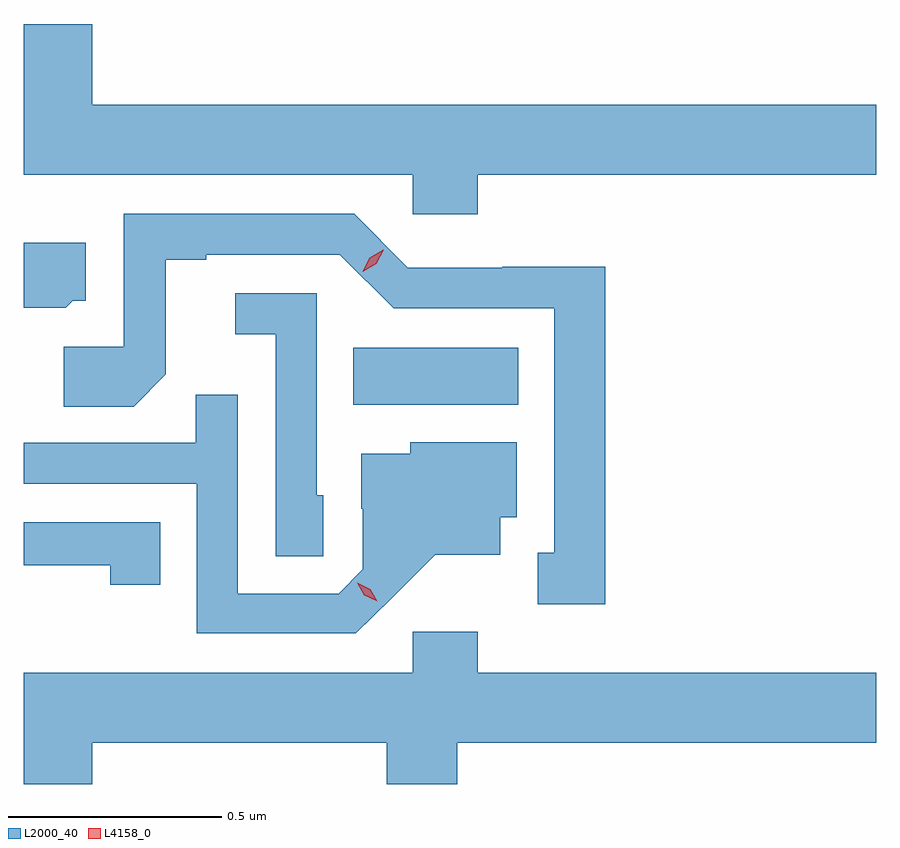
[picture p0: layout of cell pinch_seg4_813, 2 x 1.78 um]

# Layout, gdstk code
import gdstk
lib = gdstk.Library(unit=1e-6, precision=1e-09)
def R(c, l, rs):  # rectangles x0, y0, x1, y1
    for r in rs: c.add(gdstk.rectangle(r[:2], r[2:], *l))
def P(c, l, *ps):  # polygons
    for p in ps: c.add(gdstk.Polygon(p, *l))
L2000_40 = (2000, 40)
L4158_0 = (4158, 0)

pinch_seg4_813 = lib.new_cell('pinch_seg4_813')
R(pinch_seg4_813, L2000_40, [(801.148,829.58,801.535,829.714)])
P(pinch_seg4_813, L2000_40, [(801.44,830.12),(802.375,830.12),(802.375,830.284),(800.536,830.284),(800.536,830.473),(800.375,830.473),(800.375,830.12),(801.288,830.12),(801.288,830.027),(801.44,830.027)],
  [(801.739,829.904),(801.498,829.904),(801.498,829.902),(801.276,829.902),(801.15,830.028),(800.61,830.028),(800.61,829.716),(800.469,829.716),(800.469,829.576),(800.633,829.576),(800.709,829.652),(800.709,829.92),(800.803,829.92),(800.803,829.932),(801.117,829.932),(801.243,829.806),(801.62,829.806),(801.62,829.233),(801.581,829.233),(801.581,829.113),(801.739,829.113)],
  [(800.49,829.824),(800.521,829.824),(800.521,829.96),(800.375,829.96),(800.375,829.808),(800.474,829.808)],
  [(801.078,829.368),(801.063,829.368),(801.063,829.842),(800.871,829.842),(800.871,829.745),(800.967,829.745),(800.967,829.225),(801.078,829.225)],
  [(801.238,829.127),(801.341,829.229),(801.493,829.229),(801.493,829.316),(801.532,829.316),(801.532,829.492),(801.282,829.492),(801.282,829.465),(801.167,829.465),(801.167,829.336),(801.171,829.336),(801.171,829.194),(801.114,829.137),(800.877,829.137),(800.877,829.604),(800.779,829.604),(800.779,829.491),(800.375,829.491),(800.375,829.395),(800.781,829.395),(800.781,829.044),(801.154,829.044)],
  [(800.696,829.305),(800.375,829.305),(800.375,829.204),(800.578,829.204),(800.578,829.158),(800.696,829.158)],
  [(800.536,828.788),(801.227,828.788),(801.227,828.691),(801.392,828.691),(801.392,828.788),(802.375,828.788),(802.375,828.952),(801.44,828.952),(801.44,829.048),(801.288,829.048),(801.288,828.952),(800.375,828.952),(800.375,828.691),(800.536,828.691)])
P(pinch_seg4_813, L4158_0, [(801.205,829.119),(801.174,829.133),(801.157,829.163),(801.157,829.163),(801.157,829.163),(801.188,829.148),(801.205,829.119),(801.205,829.119)],
  [(801.17,829.892),(801.17,829.893),(801.187,829.925),(801.219,829.944),(801.22,829.944),(801.22,829.944),(801.202,829.911),(801.17,829.892)])

lib.write_gds('pinch_seg4_813.gds')
